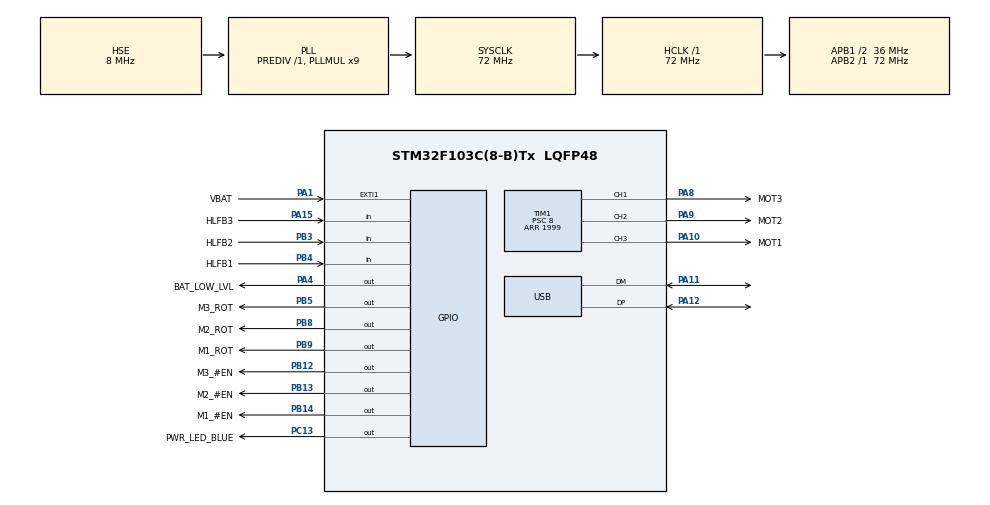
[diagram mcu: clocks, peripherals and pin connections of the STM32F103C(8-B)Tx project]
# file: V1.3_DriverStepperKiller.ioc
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Mcu.Family=STM32F1
Mcu.Name=STM32F103C(8-B)Tx
Mcu.Package=LQFP48
NVIC.EXTI1_IRQn=true\:2\:0\:true\:false\:true\:true\:true
NVIC.PriorityGroup=NVIC_PRIORITYGROUP_4
NVIC.TIM1_CC_IRQn=true\:1\:0\:true\:false\:true\:true\:true
NVIC.TIM1_UP_IRQn=true\:1\:0\:true\:false\:true\:true\:true
NVIC.USB_HP_CAN1_TX_IRQn=true\:0\:0\:true\:false\:true\:true\:true
NVIC.USB_LP_CAN1_RX0_IRQn=true\:0\:0\:false\:false\:true\:false\:true
PA1.GPIO_Label=VBAT
PA1.GPIO_ModeDefaultEXTI=GPIO_MODE_IT_FALLING
PA1.Signal=GPXTI1
PA10.GPIO_Label=MOT1
PA10.GPIO_Speed=GPIO_SPEED_FREQ_HIGH
PA10.Signal=S_TIM1_CH3
PA11.Mode=Device
PA11.Signal=USB_DM
PA12.Mode=Device
PA12.Signal=USB_DP
PA13.Mode=Serial_Wire
PA13.Signal=SYS_JTMS-SWDIO
PA14.Mode=Serial_Wire
PA14.Signal=SYS_JTCK-SWCLK
PA15.GPIO_Label=HLFB3
PA15.Signal=GPIO_Input
PA4.GPIO_Label=BAT_LOW_LVL
PA4.GPIO_Speed=GPIO_SPEED_FREQ_LOW
PA4.PinState=GPIO_PIN_SET
PA4.Signal=GPIO_Output
PA8.GPIO_Label=MOT3
PA8.GPIO_Speed=GPIO_SPEED_FREQ_HIGH
PA8.Signal=S_TIM1_CH1
PA9.GPIO_Label=MOT2
PA9.GPIO_Speed=GPIO_SPEED_FREQ_HIGH
PA9.Signal=S_TIM1_CH2
PB12.GPIO_Label=M3_\#EN
PB12.GPIO_Speed=GPIO_SPEED_FREQ_LOW
PB12.PinState=GPIO_PIN_SET
PB12.Signal=GPIO_Output
PB13.GPIO_Label=M2_\#EN
PB13.PinState=GPIO_PIN_SET
PB13.Signal=GPIO_Output
PB14.GPIO_Label=M1_\#EN
PB14.PinState=GPIO_PIN_SET
PB14.Signal=GPIO_Output
PB3.GPIO_Label=HLFB2
PB3.Signal=GPIO_Input
PB4.GPIO_Label=HLFB1
PB4.Signal=GPIO_Input
PB5.GPIO_Label=M3_ROT
PB5.GPIO_Speed=GPIO_SPEED_FREQ_HIGH
PB5.Signal=GPIO_Output
PB8.GPIO_Label=M2_ROT
PB8.GPIO_Speed=GPIO_SPEED_FREQ_HIGH
PB8.Signal=GPIO_Output
PB9.GPIO_Label=M1_ROT
PB9.GPIO_Speed=GPIO_SPEED_FREQ_HIGH
PB9.Signal=GPIO_Output
PC13-TAMPER-RTC.GPIO_Label=PWR_LED_BLUE
PC13-TAMPER-RTC.PinState=GPIO_PIN_SET
PC13-TAMPER-RTC.Signal=GPIO_Output
PD0-OSC_IN.Mode=HSE-External-Oscillator
PD0-OSC_IN.Signal=RCC_OSC_IN
PD1-OSC_OUT.Mode=HSE-External-Oscillator
PD1-OSC_OUT.Signal=RCC_OSC_OUT
ProjectManager.HeapSize=0x200
ProjectManager.StackSize=0x400
ProjectManager.TargetToolchain=MDK-ARM V5
RCC.ADCPresc=RCC_ADCPCLK2_DIV6
RCC.AHBFreq_Value=72000000
RCC.APB1CLKDivider=RCC_HCLK_DIV2
RCC.APB1Freq_Value=36000000
RCC.APB1TimFreq_Value=72000000
RCC.APB2Freq_Value=72000000
RCC.APB2TimFreq_Value=72000000
RCC.HCLKFreq_Value=72000000
RCC.PLLMUL=RCC_PLL_MUL9
RCC.SYSCLKFreq_VALUE=72000000
RCC.SYSCLKSource=RCC_SYSCLKSOURCE_PLLCLK
RCC.USBFreq_Value=48000000
RCC.USBPrescaler=RCC_USBCLKSOURCE_PLL_DIV1_5
SH.S_TIM1_CH1.0=TIM1_CH1,PWM Generation1 CH1
SH.S_TIM1_CH2.0=TIM1_CH2,PWM Generation2 CH2
SH.S_TIM1_CH3.0=TIM1_CH3,PWM Generation3 CH3
TIM1.AutoReloadPreload=TIM_AUTORELOAD_PRELOAD_ENABLE
TIM1.Channel-PWM\ Generation1\ CH1=TIM_CHANNEL_1
TIM1.Channel-PWM\ Generation2\ CH2=TIM_CHANNEL_2
TIM1.Channel-PWM\ Generation3\ CH3=TIM_CHANNEL_3
TIM1.OCFastMode_PWM-PWM\ Generation1\ CH1=TIM_OCFAST_ENABLE
TIM1.OCFastMode_PWM-PWM\ Generation2\ CH2=TIM_OCFAST_ENABLE
TIM1.OCFastMode_PWM-PWM\ Generation3\ CH3=TIM_OCFAST_ENABLE
TIM1.OCMode_PWM-PWM\ Generation1\ CH1=TIM_OCMODE_PWM1
TIM1.OCMode_PWM-PWM\ Generation2\ CH2=TIM_OCMODE_PWM1
TIM1.Period=1999
TIM1.Prescaler=8
TIM1.Pulse-PWM\ Generation1\ CH1=1000
TIM1.Pulse-PWM\ Generation2\ CH2=1000
TIM1.Pulse-PWM\ Generation3\ CH3=1000
TIM1.TIM_MasterOutputTrigger=TIM_TRGO_RESET
USB.ep0_mps=DEP0CTL_MPS_8
USB.low_power_enable=DISABLE
USB_DEVICE.CLASS_NAME_FS=CDC
USB_DEVICE.VirtualMode=Cdc
USB_DEVICE.VirtualModeFS=Cdc_FS
VP_TIM1_VS_ClockSourceINT.Mode=Internal
VP_USB_DEVICE_VS_USB_DEVICE_CDC_FS.Mode=CDC_FS
VP_WWDG_VS_WWDG.Mode=WWDG_Activate
WWDG.Prescaler=WWDG_PRESCALER_4
board=V1.3_DriverStepperKiller

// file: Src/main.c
/* USER CODE BEGIN Header */
/**
  ******************************************************************************
  * @file           : main.c
  * @brief          : Main program body
  ******************************************************************************
  * @attention
  *
  * <h2><center>&copy; Copyright (c) 2019 STMicroelectronics.
  * All rights reserved.</center></h2>
  *
  * This software component is licensed by ST under Ultimate Liberty license
  * SLA0044, the "License"; You may not use this file except in compliance with
  * the License. You may obtain a copy of the License at:
  *                             www.st.com/SLA0044
  *
  ******************************************************************************
  */
/* USER CODE END Header */

#include "main.h"
#include "usb_device.h"

TIM_HandleTypeDef htim1;

WWDG_HandleTypeDef hwwdg;

/* USER CODE BEGIN PV */
/* Private variables ---------------------------------------------------------*/
// Constant char that specifies the motor index/nr
const uint8_t user_motNr = '1';

// Variable that specifies the motor mode of OPERATION
uint8_t USER_VARIABLE_VEL_MODE = TRUE;

double user_acc_progression_time_increment = 0;
double user_dec_progression_time_increment = 0;

// This variable specifies the type of the received message
//uint8_t user_received_flag_USB_msg = FLAG_UNKNOWN;

// Variable that holds the conversion value from distance in mmm to motor steps
double user_mot_revolutions = 0;

// Variable that holds the acceleration time
double user_acc_time = 0;

// Flag to update the RCR of timer 1
uint8_t user_flag_update_RCR = FALSE;

// Flags to account for actions taken by the user regarding, the commanded steps, distance, vel, angular vel,
// elapsed time, time interval, acc_time, dec_time to be performed
uint8_t user_flag_steps_to_be_performed_SET = FALSE,
				user_flag_distance_to_be_performed_SET = FALSE,
				user_flag_mot_RPM_SET = FALSE,
				user_flag_load_vel_SET = FALSE,
				user_flag_elapsed_time_SET = FALSE,
				user_flag_time_interval_SET = FALSE,
				user_flag_acc_time_SET = FALSE,
				user_flag_dec_time_SET = FALSE,
				user_flag_trajectory_repetitions_SET = FALSE;

// Flag to account for the update of the timer registers
volatile uint8_t user_flag_TIMER_registers_update_SET = FALSE,
								 user_flag_mot_START = FALSE;

// Variable that holds the number of the capture compare interrups
volatile uint32_t user_no_of_cc_interrupts = 0;
volatile uint32_t user_no_of_pwm_periods_until_change_when_acc = 0;
volatile uint32_t user_time_increments_added_to_pwm_period_when_acc = 0;

volatile uint32_t user_no_of_pwm_periods_until_change_when_dec = 0;
volatile uint32_t user_time_increments_added_to_pwm_period_when_dec = 0;

// This variables will be used in conjontion with the RCR (timer Repetition Counter Register)
uint32_t user_number_of_RCR_overflows = 0;
uint8_t user_remaining_RCR_val = 0;

// Var that is not used yet
//uint8_t user_maxStepNr = MAX_RCR_VAL;

// Var that holds the total number of performed steps and distance
int32_t user_total_steps_performed = 0;
double user_total_distance_performed = 0;

// Var that is used to compute how long takes for one mechanical rotation after the motor rezolution will be set
// From the above variable we can compute the pwm period and frequency. This will be done later in the code
double user_one_rotation_time = 0.0;
uint32_t user_pwm_period = 0, user_max_pwm_period =0;
uint32_t user_pwm_frequency = 0;

// Array of possible motor step resolutions
uint32_t user_globalStepRes[9] = {STEPS_PER_REV_200,
														 STEPS_PER_REV_400,
														 STEPS_PER_REV_800,
														 STEPS_PER_REV_1600,
														 STEPS_PER_REV_3200,
														 STEPS_PER_REV_6400,
														 STEPS_PER_REV_12800,
														 STEPS_PER_REV_25600,
														 STEPS_PER_REV_51200};

// Variables that hold the minimum accepted period of the PWM signal, which is set according to the USER selected motor rezolution
uint16_t user_pwm_min_period[9] = {PWM_MIN_PERIOD_AT_200_US,
																	PWM_MIN_PERIOD_AT_400_US,
																	PWM_MIN_PERIOD_AT_800_US,
																	PWM_MIN_PERIOD_AT_1600_US,
																	PWM_MIN_PERIOD_AT_3200_US,
																	PWM_MIN_PERIOD_AT_6400_US,
																	PWM_MIN_PERIOD_AT_12800_US,
																	PWM_MIN_PERIOD_AT_25600_US,
																	PWM_MIN_PERIOD_AT_51200_US};

// Variables that hold the motor step rezolution, axis length, screw step, and mass of the load, set by the USER
uint32_t user_set_mot_rez = 0;
uint16_t user_set_axis_len = 0, user_set_load_mass = 0;
uint8_t user_set_screw_step = 0;

/* Variables that hod the comand parameteres of the comand messages */
uint32_t user_set_steps = 0,
					user_set_acc_steps = 0,
					user_set_dec_steps = 0,
					guser_set_acc_steps = 0,
					guser_set_dec_steps = 0;
volatile uint32_t user_set_trajectory_repetitions = 0;

double user_set_distance = 0.0;
uint16_t Iuser_set_distance = 0;
uint8_t Fuser_set_distance = 0;

double user_mot_max_RPM = 0.0;
double user_set_motor_RPM = 0.0, user_set_motor_current_RPM = 0;
uint16_t Iuser_set_motor_RPM = 0;
uint8_t Fuser_set_motor_RPM = 0;

double user_set_motor_RPM_s = 0.0;
uint16_t Iuser_set_motor_RPM_s = 0;
uint8_t Fuser_set_motor_RPM_s = 0;

double user_load_max_vel = 0.0;
double user_set_load_vel = 0.0;
uint16_t Iuser_set_load_vel = 0;
uint8_t Fuser_set_load_vel = 0;

double user_set_time_elapsed = 0;
uint16_t Fuser_set_time_elapsed = 0;
uint16_t Iuser_set_time_elapsed = 0;

double user_set_time_interval = 0;
uint16_t Fuser_set_time_interval = 0;
uint16_t Iuser_set_time_interval = 0;

volatile double user_set_motor_acc_time = 0.0;
uint8_t Iuser_set_motor_acc_time = 0;
uint16_t Fuser_set_motor_acc_time = 0;

volatile double user_set_motor_dec_time = 0.0;
uint8_t Iuser_set_motor_dec_time = 0;
uint16_t Fuser_set_motor_dec_time = 0;

/* Variable that holds the desired direction of the motor	*/
uint8_t user_set_mot_direction = 0;

// Fixed messages that are not used yet
//const uint8_t mot_start[]="@M1START\r";
//const uint8_t mot_stop[]="@M1STOP\r";
//const uint8_t okMsg[5]="#EOK\r";

/* USER CODE END PV */

void SystemClock_Config(void);
static void MX_GPIO_Init(void);
static void MX_TIM1_Init(void);
static void MX_WWDG_Init(void);
/* USER CODE BEGIN PFP */
/* Private function prototypes -----------------------------------------------*/
static void USER_Clear_Array(uint8_t* array);
static uint8_t USER_Decode_Msg(void);
static uint8_t USER_ExtractNumber_FromString(uint32_t * Destination,
											 uint8_t * String,
											 uint8_t StartPosition,
											 uint8_t Length);

static void USER_Set_Mot_Dir(uint8_t direction);
static void USER_Set_Load_Dir(uint8_t direction);
static uint32_t USER_Compute_Pwm_Period(double motor_RPM);
//static double USER_Compute_Progression_Time_Step(double motor_RPM_start, double motor_RPM_stop, uint32_t pwm_period, double acc_time);
static double USER_Compute_Progression_Time_Step(double motor_RPM, uint32_t pwm_period, double acc_time);
static void USER_Start_Motor(void);
static void USER_Stop_Motor(void);
static void USER_Move_Motor(void);
static void USER_Variable_Vel_TIM_Config(void);
static void USER_Constant_Vel_TIM_Config(void);
/* USER CODE END PFP */

uint16_t user_pwm_period_array[ROWS][COLUMNS] = {{567,452,389,348,318,294,276,261,248,237,227,219,211,204,198,193,187,183,178,174,171,167,164,161,158,155,153,150,148,146,144,142,140,138,136,135,133,132,130,129,128,126,125,124,123,121,120,119,118,117,116,115,115,114,113,112,111,110,110,109,108,107,107,106,106,105,104,104,103,103,102,101,101,100,100,99,99,98,98,97,97,97,96,96,95,95,95,94,94,93,93,93,92,92,92,91,91,91,91,90,90,90,89,89,89,89,88,88,88,88,87,87,87,87,86,86,86,86,86,85,85,85,85,85,84,84,84,84,84,83,83,83,83,83,83,83,82,82,82,82,82,82,82,81,81,81,81,81,81,81,81,81,80,80,80,80,80,80,80,80,80,80,80,80,79,79,79,79,79,79,79,79,79,79,79,79,79,79,79,79,79,78,78,78,78,78,78,78,78,78,78,78,78,78,78,78,78,78,78,78,78}};

volatile uint16_t row = 0;
volatile int16_t col = 0;
volatile uint8_t flag_change_direction = FALSE;
int main(void)
{

  /* MCU Configuration--------------------------------------------------------*/

  /* Reset of all peripherals, Initializes the Flash interface and the Systick. */
  HAL_Init();

  /* Configure the system clock */
  SystemClock_Config();

  /* Initialize all configured peripherals */
  MX_GPIO_Init();
  MX_TIM1_Init();
  MX_USB_DEVICE_Init();
  //MX_WWDG_Init();
	// Start the motor
	HAL_GPIO_WritePin(M3__EN_GPIO_Port,M3__EN_Pin,GPIO_PIN_RESET);

	HAL_Delay(20);
  /* Infinite loop */
	HAL_TIM_OC_Start_IT(&htim1,TIM_CHANNEL_1);
  /* USER CODE BEGIN WHILE */
  while (1)
  {
//		if (flag_change_direction)
//		{
//			if(htim1.Instance->CNT ==
//		}
//		switch(user_received_flag_USB_msg)
//		{
//			case FLAG_UNKNOWN:
//				break;
//
//			case FLAG_OK:
//				if(USER_Decode_Msg())
//				{
//					user_received_flag_USB_msg = FLAG_UNKNOWN;
//				}
//				else
//				{
//					CDC_Transmit_FS((uint8_t*)"#ERR\r",5);
//					user_received_flag_USB_msg = FLAG_UNKNOWN;
//				}
//				break;
//
//			case FLAG_OVERFLOW:
//				break;
//
//			case FLAG_ERR:
//				break;
//		}
    /* USER CODE END WHILE */

  }
}

void SystemClock_Config(void)
{
  RCC_OscInitTypeDef RCC_OscInitStruct = {0};
  RCC_ClkInitTypeDef RCC_ClkInitStruct = {0};
  RCC_PeriphCLKInitTypeDef PeriphClkInit = {0};

  /** Initializes the CPU, AHB and APB busses clocks
  */
  RCC_OscInitStruct.OscillatorType = RCC_OSCILLATORTYPE_HSE;
  RCC_OscInitStruct.HSEState = RCC_HSE_ON;
  RCC_OscInitStruct.HSEPredivValue = RCC_HSE_PREDIV_DIV1;
  RCC_OscInitStruct.HSIState = RCC_HSI_ON;
  RCC_OscInitStruct.PLL.PLLState = RCC_PLL_ON;
  RCC_OscInitStruct.PLL.PLLSource = RCC_PLLSOURCE_HSE;
  RCC_OscInitStruct.PLL.PLLMUL = RCC_PLL_MUL9;
  if (HAL_RCC_OscConfig(&RCC_OscInitStruct) != HAL_OK)
  {
    Error_Handler();
  }
  /** Initializes the CPU, AHB and APB busses clocks
  */
  RCC_ClkInitStruct.ClockType = RCC_CLOCKTYPE_HCLK|RCC_CLOCKTYPE_SYSCLK
                              |RCC_CLOCKTYPE_PCLK1|RCC_CLOCKTYPE_PCLK2;
  RCC_ClkInitStruct.SYSCLKSource = RCC_SYSCLKSOURCE_PLLCLK;
  RCC_ClkInitStruct.AHBCLKDivider = RCC_SYSCLK_DIV1;
  RCC_ClkInitStruct.APB1CLKDivider = RCC_HCLK_DIV2;
  RCC_ClkInitStruct.APB2CLKDivider = RCC_HCLK_DIV1;

  if (HAL_RCC_ClockConfig(&RCC_ClkInitStruct, FLASH_LATENCY_2) != HAL_OK)
  {
    Error_Handler();
  }
  PeriphClkInit.PeriphClockSelection = RCC_PERIPHCLK_USB;
  PeriphClkInit.UsbClockSelection = RCC_USBCLKSOURCE_PLL_DIV1_5;
  if (HAL_RCCEx_PeriphCLKConfig(&PeriphClkInit) != HAL_OK)
  {
    Error_Handler();
  }
}

static void MX_TIM1_Init(void)
{

  TIM_ClockConfigTypeDef sClockSourceConfig = {0};
  TIM_MasterConfigTypeDef sMasterConfig = {0};
  TIM_OC_InitTypeDef sConfigOC = {0};
  TIM_BreakDeadTimeConfigTypeDef sBreakDeadTimeConfig = {0};

  htim1.Instance = TIM1;
  htim1.Init.Prescaler = 71;
  htim1.Init.CounterMode = TIM_COUNTERMODE_UP;
  htim1.Init.Period = user_pwm_period_array[row][col];
  htim1.Init.ClockDivision = TIM_CLOCKDIVISION_DIV1;
  htim1.Init.RepetitionCounter = 0;
  htim1.Init.AutoReloadPreload = TIM_AUTORELOAD_PRELOAD_ENABLE;
  if (HAL_TIM_Base_Init(&htim1) != HAL_OK)
  {
    Error_Handler();
  }
  sClockSourceConfig.ClockSource = TIM_CLOCKSOURCE_INTERNAL;
  if (HAL_TIM_ConfigClockSource(&htim1, &sClockSourceConfig) != HAL_OK)
  {
    Error_Handler();
  }
  if (HAL_TIM_PWM_Init(&htim1) != HAL_OK)
  {
    Error_Handler();
  }
  sMasterConfig.MasterOutputTrigger = TIM_TRGO_RESET;
  sMasterConfig.MasterSlaveMode = TIM_MASTERSLAVEMODE_DISABLE;
  if (HAL_TIMEx_MasterConfigSynchronization(&htim1, &sMasterConfig) != HAL_OK)
  {
    Error_Handler();
  }
  sConfigOC.OCMode = TIM_OCMODE_PWM1;
  sConfigOC.Pulse = (user_pwm_period_array[row][col]+1)/2;
  sConfigOC.OCPolarity = TIM_OCPOLARITY_HIGH;
  sConfigOC.OCNPolarity = TIM_OCNPOLARITY_HIGH;
  sConfigOC.OCFastMode = TIM_OCFAST_ENABLE;
  sConfigOC.OCIdleState = TIM_OCIDLESTATE_RESET;
  sConfigOC.OCNIdleState = TIM_OCNIDLESTATE_RESET;
  if (HAL_TIM_PWM_ConfigChannel(&htim1, &sConfigOC, TIM_CHANNEL_1) != HAL_OK)
  {
    Error_Handler();
  }
  if (HAL_TIM_PWM_ConfigChannel(&htim1, &sConfigOC, TIM_CHANNEL_2) != HAL_OK)
  {
    Error_Handler();
  }
  if (HAL_TIM_PWM_ConfigChannel(&htim1, &sConfigOC, TIM_CHANNEL_3) != HAL_OK)
  {
    Error_Handler();
  }
  sBreakDeadTimeConfig.OffStateRunMode = TIM_OSSR_DISABLE;
  sBreakDeadTimeConfig.OffStateIDLEMode = TIM_OSSI_DISABLE;
  sBreakDeadTimeConfig.LockLevel = TIM_LOCKLEVEL_OFF;
  sBreakDeadTimeConfig.DeadTime = 0;
  sBreakDeadTimeConfig.BreakState = TIM_BREAK_DISABLE;
  sBreakDeadTimeConfig.BreakPolarity = TIM_BREAKPOLARITY_HIGH;
  sBreakDeadTimeConfig.AutomaticOutput = TIM_AUTOMATICOUTPUT_DISABLE;
  if (HAL_TIMEx_ConfigBreakDeadTime(&htim1, &sBreakDeadTimeConfig) != HAL_OK)
  {
    Error_Handler();
  }
  HAL_TIM_MspPostInit(&htim1);

}

static void MX_WWDG_Init(void)
{

  hwwdg.Instance = WWDG;
  hwwdg.Init.Prescaler = WWDG_PRESCALER_4;
  hwwdg.Init.Window = 64;
  hwwdg.Init.Counter = 64;
  hwwdg.Init.EWIMode = WWDG_EWI_DISABLE;
  if (HAL_WWDG_Init(&hwwdg) != HAL_OK)
  {
    Error_Handler();
  }

}

static void MX_GPIO_Init(void)
{
  GPIO_InitTypeDef GPIO_InitStruct = {0};

  /* GPIO Ports Clock Enable */
  __HAL_RCC_GPIOC_CLK_ENABLE();
  __HAL_RCC_GPIOD_CLK_ENABLE();
  __HAL_RCC_GPIOA_CLK_ENABLE();
  __HAL_RCC_GPIOB_CLK_ENABLE();

  /*Configure GPIO pin Output Level */
  HAL_GPIO_WritePin(PWR_LED_BLUE_GPIO_Port, PWR_LED_BLUE_Pin, GPIO_PIN_SET);

  /*Configure GPIO pin Output Level */
  HAL_GPIO_WritePin(BAT_LOW_LVL_GPIO_Port, BAT_LOW_LVL_Pin, GPIO_PIN_SET);

  /*Configure GPIO pin Output Level */
  HAL_GPIO_WritePin(GPIOB, M3__EN_Pin|M2__EN_Pin|M1__EN_Pin, GPIO_PIN_SET);

  /*Configure GPIO pin Output Level */
  HAL_GPIO_WritePin(GPIOB, M3_ROT_Pin|M2_ROT_Pin|M1_ROT_Pin, GPIO_PIN_RESET);

  /*Configure GPIO pin : PWR_LED_BLUE_Pin */
  GPIO_InitStruct.Pin = PWR_LED_BLUE_Pin;
  GPIO_InitStruct.Mode = GPIO_MODE_OUTPUT_PP;
  GPIO_InitStruct.Pull = GPIO_NOPULL;
  GPIO_InitStruct.Speed = GPIO_SPEED_FREQ_LOW;
  HAL_GPIO_Init(PWR_LED_BLUE_GPIO_Port, &GPIO_InitStruct);

  /*Configure GPIO pins : PC14 PC15 */
  GPIO_InitStruct.Pin = GPIO_PIN_14|GPIO_PIN_15;
  GPIO_InitStruct.Mode = GPIO_MODE_ANALOG;
  HAL_GPIO_Init(GPIOC, &GPIO_InitStruct);

  /*Configure GPIO pins : PA0 PA2 PA3 PA5
                           PA6 PA7 */
  GPIO_InitStruct.Pin = GPIO_PIN_0|GPIO_PIN_2|GPIO_PIN_3|GPIO_PIN_5
                          |GPIO_PIN_6|GPIO_PIN_7;
  GPIO_InitStruct.Mode = GPIO_MODE_ANALOG;
  HAL_GPIO_Init(GPIOA, &GPIO_InitStruct);

  /*Configure GPIO pin : VBAT_Pin */
  GPIO_InitStruct.Pin = VBAT_Pin;
  GPIO_InitStruct.Mode = GPIO_MODE_IT_FALLING;
  GPIO_InitStruct.Pull = GPIO_NOPULL;
  HAL_GPIO_Init(VBAT_GPIO_Port, &GPIO_InitStruct);

  /*Configure GPIO pin : BAT_LOW_LVL_Pin */
  GPIO_InitStruct.Pin = BAT_LOW_LVL_Pin;
  GPIO_InitStruct.Mode = GPIO_MODE_OUTPUT_PP;
  GPIO_InitStruct.Pull = GPIO_NOPULL;
  GPIO_InitStruct.Speed = GPIO_SPEED_FREQ_LOW;
  HAL_GPIO_Init(BAT_LOW_LVL_GPIO_Port, &GPIO_InitStruct);

  /*Configure GPIO pins : PB0 PB1 PB2 PB10
                           PB11 PB15 PB6 PB7 */
  GPIO_InitStruct.Pin = GPIO_PIN_0|GPIO_PIN_1|GPIO_PIN_2|GPIO_PIN_10
                          |GPIO_PIN_11|GPIO_PIN_15|GPIO_PIN_6|GPIO_PIN_7;
  GPIO_InitStruct.Mode = GPIO_MODE_ANALOG;
  HAL_GPIO_Init(GPIOB, &GPIO_InitStruct);

  /*Configure GPIO pins : M3__EN_Pin M2__EN_Pin M1__EN_Pin */
  GPIO_InitStruct.Pin = M3__EN_Pin|M2__EN_Pin|M1__EN_Pin;
  GPIO_InitStruct.Mode = GPIO_MODE_OUTPUT_PP;
  GPIO_InitStruct.Pull = GPIO_NOPULL;
  GPIO_InitStruct.Speed = GPIO_SPEED_FREQ_LOW;
  HAL_GPIO_Init(GPIOB, &GPIO_InitStruct);

  /*Configure GPIO pin : HLFB3_Pin */
  GPIO_InitStruct.Pin = HLFB3_Pin;
  GPIO_InitStruct.Mode = GPIO_MODE_INPUT;
  GPIO_InitStruct.Pull = GPIO_NOPULL;
  HAL_GPIO_Init(HLFB3_GPIO_Port, &GPIO_InitStruct);

  /*Configure GPIO pins : HLFB2_Pin HLFB1_Pin */
  GPIO_InitStruct.Pin = HLFB2_Pin|HLFB1_Pin;
  GPIO_InitStruct.Mode = GPIO_MODE_INPUT;
  GPIO_InitStruct.Pull = GPIO_NOPULL;
  HAL_GPIO_Init(GPIOB, &GPIO_InitStruct);

  /*Configure GPIO pins : M3_ROT_Pin M2_ROT_Pin M1_ROT_Pin */
  GPIO_InitStruct.Pin = M3_ROT_Pin|M2_ROT_Pin|M1_ROT_Pin;
  GPIO_InitStruct.Mode = GPIO_MODE_OUTPUT_PP;
  GPIO_InitStruct.Pull = GPIO_NOPULL;
  GPIO_InitStruct.Speed = GPIO_SPEED_FREQ_HIGH;
  HAL_GPIO_Init(GPIOB, &GPIO_InitStruct);

  /* EXTI interrupt init*/
  HAL_NVIC_SetPriority(EXTI1_IRQn, 2, 0);
  HAL_NVIC_EnableIRQ(EXTI1_IRQn);

}

void Error_Handler(void)
{
  while(1)
  {
  }
}

/************************ (C) COPYRIGHT STMicroelectronics *****END OF FILE****/
